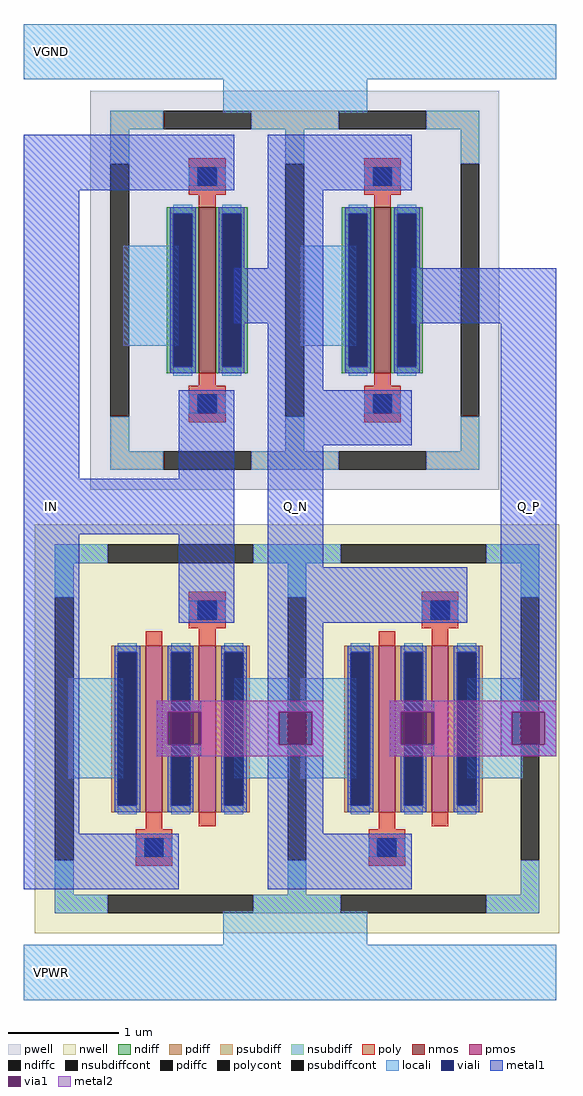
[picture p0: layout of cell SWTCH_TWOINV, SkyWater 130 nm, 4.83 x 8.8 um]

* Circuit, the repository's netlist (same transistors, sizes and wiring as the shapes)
** sch_path: /home/couch/dev/personal/chacha-silicon/tt09-analog-switch/swtch_twoinv_sky130nm/design/SWTCH_TWOINV_SKY130NM/SWTCH_TWOINV.sch
.subckt SWTCH_TWOINV VPWR IN Q_P Q_N VGND
*.ipin VPWR
*.ipin VGND
*.ipin IN
*.opin Q_P
*.opin Q_N
XM1 Q_N IN VPWR VPWR sky130_fd_pr__pfet_01v8 L=0.15 W=3 nf=2 ad='int((nf+1)/2) * W/nf * 0.29' as='int((nf+2)/2) * W/nf * 0.29' pd='2*int((nf+1)/2) * (W/nf + 0.29)'  ps='2*int((nf+2)/2) * (W/nf + 0.29)' nrd='0.29 / W' nrs='0.29 / W' sa=0 sb=0 sd=0 mult=1 m=1
XM2 Q_N IN VGND VGND sky130_fd_pr__nfet_01v8 L=0.15 W=1.5 nf=1 ad='int((nf+1)/2) * W/nf * 0.29' as='int((nf+2)/2) * W/nf * 0.29' pd='2*int((nf+1)/2) * (W/nf + 0.29)'  ps='2*int((nf+2)/2) * (W/nf + 0.29)' nrd='0.29 / W' nrs='0.29 / W' sa=0 sb=0 sd=0 mult=1 m=1
XM3 Q_P Q_N VPWR VPWR sky130_fd_pr__pfet_01v8 L=0.15 W=3 nf=2 ad='int((nf+1)/2) * W/nf * 0.29' as='int((nf+2)/2) * W/nf * 0.29' pd='2*int((nf+1)/2) * (W/nf + 0.29)'  ps='2*int((nf+2)/2) * (W/nf + 0.29)' nrd='0.29 / W' nrs='0.29 / W' sa=0 sb=0 sd=0 mult=1 m=1
XM4 Q_P Q_N VGND VGND sky130_fd_pr__nfet_01v8 L=0.15 W=1.5 nf=1 ad='int((nf+1)/2) * W/nf * 0.29' as='int((nf+2)/2) * W/nf * 0.29' pd='2*int((nf+1)/2) * (W/nf + 0.29)'  ps='2*int((nf+2)/2) * (W/nf + 0.29)' nrd='0.29 / W' nrs='0.29 / W' sa=0 sb=0 sd=0 mult=1 m=1
.ends
.end

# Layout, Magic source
magic
tech sky130A
magscale 1 2
<< locali >>
rect -2020 940 -1060 1040
rect -1660 880 -1400 940
rect -1840 460 -1740 640
rect -1520 460 -1420 640
rect -1940 -320 -1840 -140
rect -1640 -320 -1540 -140
rect -1520 -320 -1420 -140
rect -1220 -320 -1120 -140
rect -1660 -620 -1400 -560
rect -2020 -720 -1060 -620
<< metal1 >>
rect -2020 740 -1640 840
rect -1580 740 -1320 840
rect -2020 220 -1920 740
rect -1580 600 -1480 740
rect -1640 500 -1480 600
rect -1320 500 -1060 600
rect -1580 380 -1480 500
rect -1740 220 -1640 380
rect -2020 120 -1640 220
rect -2020 -420 -1920 120
rect -1740 -40 -1640 120
rect -1580 280 -1320 380
rect -1580 60 -1480 280
rect -1580 -40 -1220 60
rect -1780 -200 -1700 -180
rect -1780 -260 -1760 -200
rect -1780 -280 -1700 -260
rect -1580 -200 -1480 -40
rect -1580 -260 -1560 -200
rect -1500 -260 -1480 -200
rect -1580 -420 -1480 -260
rect -1360 -200 -1280 -180
rect -1360 -260 -1340 -200
rect -1360 -280 -1280 -260
rect -1160 -200 -1060 500
rect -1160 -260 -1140 -200
rect -1080 -260 -1060 -200
rect -1160 -280 -1060 -260
rect -2020 -520 -1740 -420
rect -1580 -520 -1320 -420
<< via1 >>
rect -1760 -260 -1700 -200
rect -1560 -260 -1500 -200
rect -1340 -260 -1280 -200
rect -1140 -260 -1080 -200
<< metal2 >>
rect -1780 -200 -1480 -180
rect -1780 -260 -1760 -200
rect -1700 -260 -1560 -200
rect -1500 -260 -1480 -200
rect -1780 -280 -1480 -260
rect -1360 -200 -1060 -180
rect -1360 -260 -1340 -200
rect -1280 -260 -1140 -200
rect -1080 -260 -1060 -200
rect -1360 -280 -1060 -260
use sky130_fd_pr__nfet_01v8_NRQ53D  sky130_fd_pr__nfet_01v8_NRQ53D_0
transform 1 0 -1689 0 1 560
box -211 -360 211 360
use sky130_fd_pr__nfet_01v8_NRQ53D  sky130_fd_pr__nfet_01v8_NRQ53D_2
transform 1 0 -1373 0 1 560
box -211 -360 211 360
use sky130_fd_pr__pfet_01v8_XJBLHL  sky130_fd_pr__pfet_01v8_XJBLHL_0
transform 1 0 -1317 0 1 -231
box -263 -369 263 369
use sky130_fd_pr__pfet_01v8_XJBLHL  sky130_fd_pr__pfet_01v8_XJBLHL_2
transform 1 0 -1737 0 1 -231
box -263 -369 263 369
<< labels >>
rlabel locali -2020 -720 -1920 -620 1 VPWR
port 1 n
rlabel locali -2020 940 -1920 1040 1 VGND
port 2 n
rlabel metal1 -2020 120 -1920 220 1 IN
port 3 n
rlabel metal1 -1160 120 -1060 220 1 Q_P
port 4 n
rlabel metal1 -1580 120 -1480 220 1 Q_N
port 5 n
<< end >>

# cell sky130_fd_pr__nfet_01v8_NRQ53D: kit device sky130_fd_pr__nfet_01v8, w 1.5 l 0.150 m 1 nf 1 diffcov 100 polycov 100 guard 1 glc 1 grc 1 gtc 1 gbc 1 tbcov 100 rlcov 100 topc 1 botc 1 poverlap 0 doverlap 1 lmin 0.15 wmin 0.42 compatible {sky130_fd_pr__nfet_01v8 sky130_fd_pr__nfet_01v8_lvt sky130_fd_bs_flash__special_sonosfet_star sky130_fd_pr__nfet_g5v0d10v5 sky130_fd_pr__nfet_05v0_nvt sky130_fd_pr__nfet_03v3_nvt} full_metal 1 viasrc 100 viadrn 100 viagate 100 viagb 0 viagr 0 viagl 0 viagt 0

# cell sky130_fd_pr__pfet_01v8_XJBLHL: kit device sky130_fd_pr__pfet_01v8, w 1.5 l 0.15 m 1 nf 2 diffcov 100 polycov 100 guard 1 glc 1 grc 1 gtc 1 gbc 1 tbcov 100 rlcov 100 topc 1 botc 1 poverlap 0 doverlap 1 lmin 0.15 wmin 0.42 compatible {sky130_fd_pr__pfet_01v8 sky130_fd_pr__pfet_01v8_lvt sky130_fd_pr__pfet_01v8_hvt sky130_fd_pr__pfet_g5v0d10v5} full_metal 1 viasrc 100 viadrn 100 viagate 100 viagb 0 viagr 0 viagl 0 viagt 0
